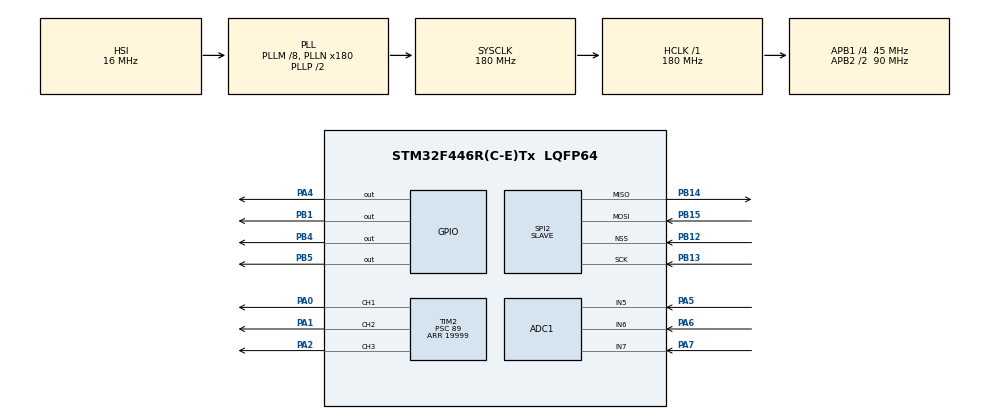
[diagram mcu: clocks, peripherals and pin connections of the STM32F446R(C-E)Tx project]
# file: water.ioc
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ADC1.Channel-1\#ChannelRegularConversion=ADC_CHANNEL_7
ADC1.NbrOfConversionFlag=1
ADC1.Rank-1\#ChannelRegularConversion=1
ADC1.SamplingTime-1\#ChannelRegularConversion=ADC_SAMPLETIME_3CYCLES
ADC1.master=1
Mcu.Family=STM32F4
Mcu.Name=STM32F446R(C-E)Tx
Mcu.Package=LQFP64
NVIC.PriorityGroup=NVIC_PRIORITYGROUP_4
NVIC.SPI2_IRQn=true\:0\:0\:false\:false\:true\:true\:true\:true
PA0-WKUP.Signal=S_TIM2_CH1_ETR
PA1.Signal=S_TIM2_CH2
PA2.Signal=S_TIM2_CH3
PA4.Signal=GPIO_Output
PA5.Signal=ADCx_IN5
PA6.Signal=ADCx_IN6
PA7.Signal=ADCx_IN7
PB1.Signal=GPIO_Output
PB12.Mode=NSS_Signal_Hard_Input
PB12.Signal=SPI2_NSS
PB13.Mode=Full_Duplex_Slave
PB13.Signal=SPI2_SCK
PB14.Mode=Full_Duplex_Slave
PB14.Signal=SPI2_MISO
PB15.Mode=Full_Duplex_Slave
PB15.Signal=SPI2_MOSI
PB4.GPIO_PuPd=GPIO_PULLUP
PB4.GPIO_Speed=GPIO_SPEED_FREQ_VERY_HIGH
PB4.PinState=GPIO_PIN_SET
PB4.Signal=GPIO_Output
PB5.GPIO_PuPd=GPIO_PULLUP
PB5.GPIO_Speed=GPIO_SPEED_FREQ_VERY_HIGH
PB5.PinState=GPIO_PIN_SET
PB5.Signal=GPIO_Output
PH0-OSC_IN.Mode=HSE-External-Oscillator
PH0-OSC_IN.Signal=RCC_OSC_IN
PH1-OSC_OUT.Mode=HSE-External-Oscillator
PH1-OSC_OUT.Signal=RCC_OSC_OUT
ProjectManager.HeapSize=0x200
ProjectManager.StackSize=0x400
ProjectManager.TargetToolchain=STM32CubeIDE
RCC.AHBFreq_Value=180000000
RCC.APB1CLKDivider=RCC_HCLK_DIV4
RCC.APB1Freq_Value=45000000
RCC.APB1TimFreq_Value=90000000
RCC.APB2CLKDivider=RCC_HCLK_DIV2
RCC.APB2Freq_Value=90000000
RCC.APB2TimFreq_Value=180000000
RCC.CortexFreq_Value=180000000
RCC.HCLKFreq_Value=180000000
RCC.PLLM=8
RCC.PLLN=180
RCC.SYSCLKFreq_VALUE=180000000
RCC.SYSCLKSource=RCC_SYSCLKSOURCE_PLLCLK
RCC.USBFreq_Value=180000000
RCC.VCOOutputFreq_Value=360000000
SH.ADCx_IN5.0=ADC1_IN5,IN5
SH.ADCx_IN6.0=ADC1_IN6,IN6
SH.ADCx_IN7.0=ADC1_IN7,IN7
SH.S_TIM2_CH1_ETR.0=TIM2_CH1,PWM Generation1 CH1
SH.S_TIM2_CH2.0=TIM2_CH2,PWM Generation2 CH2
SH.S_TIM2_CH3.0=TIM2_CH3,PWM Generation3 CH3
SPI2.Direction=SPI_DIRECTION_2LINES
SPI2.Mode=SPI_MODE_SLAVE
SPI2.VirtualNSS=VM_NSSHARD
SPI2.VirtualType=VM_SLAVE
TIM2.Channel-PWM\ Generation1\ CH1=TIM_CHANNEL_1
TIM2.Channel-PWM\ Generation2\ CH2=TIM_CHANNEL_2
TIM2.Channel-PWM\ Generation3\ CH3=TIM_CHANNEL_3
TIM2.Period=19999
TIM2.Prescaler=89
TIM2.Pulse-PWM\ Generation1\ CH1=1500
TIM2.Pulse-PWM\ Generation2\ CH2=1500
TIM2.Pulse-PWM\ Generation3\ CH3=1500
VP_TIM2_VS_ClockSourceINT.Mode=Internal
board=custom

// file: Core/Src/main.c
/* USER CODE BEGIN Header */
/**
  ******************************************************************************
  * @file           : main.c
  * @brief          : 메인 프로그램 본문
  ******************************************************************************
  * @attention
  *
  * Copyright (c) 2026 STMicroelectronics.
  * All rights reserved.
  *
  * This software is licensed under terms that can be found in the LICENSE file
  * in the root directory of this software component.
  * If no LICENSE file comes with this software, it is provided AS-IS.
  *
  ******************************************************************************
  */
/* USER CODE END Header */
/* 헤더 파일 -----------------------------------------------------------------*/
#include "main.h"
#include "adc.h"
#include "spi.h"
#include "tim.h"
#include "gpio.h"
#include "lcd_i2c.h"

/* 전용 헤더 파일 ------------------------------------------------------------*/
/* USER CODE BEGIN Includes */
#include <stdio.h>
/* USER CODE END Includes */

/* 전용 자료형 정의 ----------------------------------------------------------*/

/* 전용 상수 정의 ------------------------------------------------------------*/

/* 전용 매크로 ---------------------------------------------------------------*/

/* 전용 변수 -----------------------------------------------------------------*/

/* USER CODE BEGIN PV */

uint32_t waterValue = 0;
uint8_t Flood = 0;

// 물센서 3채널 진단용(SWV 로그 및 실시간 표현식 관찰용)
uint32_t adc_in5 = 0, adc_in6 = 0, adc_in7 = 0;

// 수위 구간에 따른 시스템 상태 정의
typedef enum {
    STATE_SAFE = 0,
    STATE_WARNING = 1,
    STATE_ALERT = 2,
    STATE_CAUTION = 3,
    STATE_CRITICAL = 4,
    STATE_DANGER = 5
} SystemState;

SystemState last_state = STATE_SAFE; // 이전 상태 저장
SystemState current_state = STATE_SAFE;

// 상태 디바운스 (센서 노이즈로 한두 번 값이 튀어도 출력이 오작동하지 않도록)
#define STATE_CONFIRM_COUNT 3            // 같은 상태를 연속 3회 받아야 실제 반영
#define EMERGENCY_WATER_CM  3U           // 부저와 비상 서보가 작동하는 기준 수위
SystemState pending_state = STATE_SAFE;  // 관찰 중인 후보 상태
uint8_t state_confirm = 0;               // 후보 상태가 연속으로 확인된 횟수
SystemState action_last_state = STATE_SAFE; // ALERT 재진입 감지용 이전 상태
uint8_t alert_action_pending = 0;        // SAFE에서 ALERT로 직접 전이했을 때만 설정
uint8_t last_water_cm = 0xFF;
uint8_t current_water_cm = 0;
uint8_t display_water_cm = 0;  // 확정 상태와 함께 LCD에 반영할 수위
uint8_t buzzer_pattern_active = 0;
uint32_t buzzer_pattern_tick = 0;

#define BUZZER_BEEP_TIME_MS  400U

//spi 통신 버퍼
uint8_t spiTx[3];
uint8_t spiRx[3];

/* USER CODE END PV */

/* 전용 함수 원형 ------------------------------------------------------------*/
void SystemClock_Config(void);

/* 사용자 전용 코드 ----------------------------------------------------------*/
/* USER CODE BEGIN 0 */

// ── 디버그 로그: printf 출력을 SWV(ITM)로 보냄 ───────────────────
// STM32CubeIDE 디버그 세션의 [SWV ITM 데이터 콘솔] 0번 포트에서 확인
int __io_putchar(int ch)
{
    ITM_SendChar(ch);
    return ch;
}

// ── ADC 단일 채널 읽기 헬퍼 ─────────────────────────────────────
// 스캔/DMA 미사용 구성이므로 변환 전에 1순위 채널을 매번 재설정한다
uint32_t ADC_ReadChannel(uint32_t channel)
{
    ADC_ChannelConfTypeDef sConfig = {0};
    sConfig.Channel = channel;
    sConfig.Rank = 1;
    // 고임피던스 물센서: 샘플링 시간을 길게 잡아야 채널 간 크로스토크를 막는다
    sConfig.SamplingTime = ADC_SAMPLETIME_480CYCLES;
    HAL_ADC_ConfigChannel(&hadc1, &sConfig);

    HAL_ADC_Start(&hadc1);
    HAL_ADC_PollForConversion(&hadc1, HAL_MAX_DELAY);
    uint32_t val = HAL_ADC_GetValue(&hadc1);
    HAL_ADC_Stop(&hadc1);
    return val;
}

// 서보 번호
#define BREAKER_SERVO   1
#define GAS_SERVO       2
#define WINDOW_SERVO    3

// 가스·창문 서보 각도 (실험 후 수정)
#define GAS_INIT_ANGLE      0     // 가스 초기 위치
#define GAS_CLOSE_ANGLE     130   // 가스 잠금
#define GAS_RETURN_ANGLE    30    // SAFE 상태에서 돌아갈 가스 서보 위치
#define WINDOW_CLOSE_ANGLE  70    // 창문 닫힘
#define WINDOW_OPEN_ANGLE   0     // 창문 열림

// 차단기 서보: 초기 위치에서 첫 번째 위치로 이동한 뒤 최종 위치로 이동
#define BREAKER_INIT_ANGLE   90   // 초기(정지) 각도
#define BREAKER_FIRST_ANGLE  95  // 첫 번째 이동 위치
#define BREAKER_FINAL_ANGLE  0   // 최종 위치

// 침수 기준 값
//---------------------------------------------

// PA5, PA6, PA7 센서는 각각 ADC 0~4095를 읽어 0~4 cm로 변환한다.
// 센서 1개 기준: 0~500=0 cm, 501~1700=1 cm, 1701~2900=2 cm,
//                 2901~3754=3 cm, 3755~4095=4 cm
// 세 센서의 변환값을 합산하므로 전체 측정 및 LCD 표시 범위는 0~12 cm이다.
static uint8_t ADC_ToSensorCm(uint32_t adc)
{
    if (adc <= 700U)  return 0;
    if (adc <= 2750U) return 1;
    if (adc <= 3400U) return 2;
    if (adc < 3835U)  return 3;
    return 4;
}

// 각 서보의 현재 논리 각도를 저장하여 단계적으로 이동시킨다.
uint8_t servoAngle[4] = {90, BREAKER_INIT_ANGLE, GAS_INIT_ANGLE, 90};

#define SERVO_STEP_TIME_MS          15U
#define BREAKER_STEP_TIME_MS         8U
#define GAS_START_DELAY_MS          500U
#define GAS_REASSERT_TIME_MS        500U

typedef enum {
    SERVO_SEQUENCE_IDLE = 0,
    SERVO_SEQUENCE_BREAKER_FIRST,
    SERVO_SEQUENCE_BREAKER_FINAL,
    SERVO_SEQUENCE_GAS_WAIT,
    SERVO_SEQUENCE_GAS_CLOSE,
    SERVO_SEQUENCE_GAS_RETURN,
    SERVO_SEQUENCE_WINDOW_CLOSE,
    SERVO_SEQUENCE_WINDOW_OPEN
} ServoSequenceState;

ServoSequenceState servo_sequence = SERVO_SEQUENCE_IDLE;
uint32_t sensor_update_tick = 0;
uint32_t gas_start_tick = 0;

typedef struct {
    uint8_t servo;
    uint8_t start_angle;
    uint8_t target_angle;
    uint32_t start_tick;
    uint32_t duration_ms;
} ServoMotion;

ServoMotion servo_motion = {0};

void Servo_SetAngle(uint8_t servo, uint8_t angle)
{
    uint16_t pulse;

    // 0~180°를 1000~2000마이크로초로 변환
    pulse = 1000 + (angle * 1000) / 180;

    switch(servo)
        {
            case BREAKER_SERVO:
                __HAL_TIM_SET_COMPARE(&htim2, TIM_CHANNEL_1, pulse);
                break;

            case GAS_SERVO:
                __HAL_TIM_SET_COMPARE(&htim2, TIM_CHANNEL_2, pulse);
                break;

            case WINDOW_SERVO:
                __HAL_TIM_SET_COMPARE(&htim2, TIM_CHANNEL_3, pulse);
                break;
        }
    }

    static uint32_t Servo_Channel(uint8_t servo)
    {
        if (servo == BREAKER_SERVO) return TIM_CHANNEL_1;
        if (servo == GAS_SERVO)     return TIM_CHANNEL_2;
        return TIM_CHANNEL_3;
    }

    /*
     * 현재 각도에서 목표 각도까지 이동을 예약한다. 차단기 서보는 1도당 8ms,
     * 가스 및 창문 서보는 1도당 15ms를 사용한다.
     */
    static void Servo_BeginMove(uint8_t servo, uint8_t target, uint32_t now)
    {
        uint8_t start = servoAngle[servo];
        uint8_t distance = (start < target) ? (uint8_t)(target - start)
                                            : (uint8_t)(start - target);

        HAL_TIM_PWM_Start(&htim2, Servo_Channel(servo));
        Servo_SetAngle(servo, start);

        servo_motion.servo = servo;
        servo_motion.start_angle = start;
        servo_motion.target_angle = target;
        servo_motion.start_tick = now;
        uint32_t step_time_ms = (servo == BREAKER_SERVO)
                              ? BREAKER_STEP_TIME_MS
                              : SERVO_STEP_TIME_MS;
        servo_motion.duration_ms = (uint32_t)distance * step_time_ms;

        // 논리 각도가 이미 잠금 위치여도 실제 가스 서보에 PWM을 충분히 인가한다.
        if (servo == GAS_SERVO && servo_motion.duration_ms < GAS_REASSERT_TIME_MS)
        {
            servo_motion.duration_ms = GAS_REASSERT_TIME_MS;
        }
    }

    /*
     * 호출 횟수가 아니라 실제 경과시간으로 각도를 계산한다. 메인 루프가 잠시
     * 지연되어도 서보 이동이 중간에 멈추지 않는다.
     */
    static uint8_t Servo_UpdateMove(uint32_t now)
    {
        uint32_t elapsed = (uint32_t)(now - servo_motion.start_tick);
        uint8_t start = servo_motion.start_angle;
        uint8_t target = servo_motion.target_angle;
        uint8_t distance = (start < target) ? (uint8_t)(target - start)
                                            : (uint8_t)(start - target);
        uint32_t step_time_ms = (servo_motion.servo == BREAKER_SERVO)
                              ? BREAKER_STEP_TIME_MS
                              : SERVO_STEP_TIME_MS;

        if (servo_motion.duration_ms == 0U || elapsed >= servo_motion.duration_ms)
        {
            servoAngle[servo_motion.servo] = target;
            Servo_SetAngle(servo_motion.servo, target);
            return 1U;
        }

        uint8_t moved = (uint8_t)(elapsed / step_time_ms);
        if (moved > distance) moved = distance;

        uint8_t angle = (start < target) ? (uint8_t)(start + moved)
                                         : (uint8_t)(start - moved);
        servoAngle[servo_motion.servo] = angle;
        Servo_SetAngle(servo_motion.servo, angle);
        return 0U;
    }

    // 비상 서보 동작을 시작한다. 실제 이동은 메인 루프의 갱신 함수가 나누어 처리한다.
    static void Emergency_Action(void)
    {
        if (servo_sequence != SERVO_SEQUENCE_IDLE) return;

        // 비상 동작이 재무장된 상태에서 경보 수위가 감지되면 차단기부터 순서대로 실행한다.
        servo_sequence = SERVO_SEQUENCE_BREAKER_FIRST;
        Servo_BeginMove(BREAKER_SERVO, BREAKER_FIRST_ANGLE, HAL_GetTick());
    }

    // SAFE 상태로 복귀하면 가스 서보를 30도로 되돌린 뒤 창문을 연다.
    static void Recovery_Action(void)
    {
        if (servo_sequence != SERVO_SEQUENCE_IDLE) return;

        servo_sequence = SERVO_SEQUENCE_GAS_RETURN;
        Servo_BeginMove(GAS_SERVO, GAS_RETURN_ANGLE, HAL_GetTick());
    }

    // 메인 루프에서 반복 호출되어 경과시간에 맞춰 서보를 하나씩 순차적으로 움직인다.
    static void Servo_SequenceUpdate(void)
    {
        uint32_t now = HAL_GetTick();

        if (servo_sequence == SERVO_SEQUENCE_IDLE) return;

        switch (servo_sequence)
        {
            case SERVO_SEQUENCE_BREAKER_FIRST:
                if (Servo_UpdateMove(now))
                {
                    servo_sequence = SERVO_SEQUENCE_BREAKER_FINAL;
                    Servo_BeginMove(BREAKER_SERVO, BREAKER_FINAL_ANGLE, now);
                }
                break;

            case SERVO_SEQUENCE_BREAKER_FINAL:
                if (Servo_UpdateMove(now))
                {
                    HAL_TIM_PWM_Stop(&htim2, TIM_CHANNEL_1);
                    gas_start_tick = now;
                    servo_sequence = SERVO_SEQUENCE_GAS_WAIT;
                }
                break;

            case SERVO_SEQUENCE_GAS_WAIT:
                // 차단기 동작 직후의 전압 강하가 가라앉은 뒤 가스 서보를 구동한다.
                if ((uint32_t)(now - gas_start_tick) >= GAS_START_DELAY_MS)
                {
                    servo_sequence = SERVO_SEQUENCE_GAS_CLOSE;
                    Servo_BeginMove(GAS_SERVO, GAS_CLOSE_ANGLE, now);
                }
                break;

            case SERVO_SEQUENCE_GAS_CLOSE:
                if (Servo_UpdateMove(now))
                {
                    // 가스 서보의 논리 위치를 130도로 남기고 PWM 출력을 끈다.
                    HAL_TIM_PWM_Stop(&htim2, TIM_CHANNEL_2);
                    servo_sequence = SERVO_SEQUENCE_WINDOW_CLOSE;
                    Servo_BeginMove(WINDOW_SERVO, WINDOW_CLOSE_ANGLE, now);
                }
                break;

            case SERVO_SEQUENCE_GAS_RETURN:
                if (Servo_UpdateMove(now))
                {
                    // SAFE 복귀 시 30도로 돌아온 뒤 창문도 정상 위치로 복구한다.
                    HAL_TIM_PWM_Stop(&htim2, TIM_CHANNEL_2);
                    servo_sequence = SERVO_SEQUENCE_WINDOW_OPEN;
                    Servo_BeginMove(WINDOW_SERVO, WINDOW_OPEN_ANGLE, now);
                }
                break;

            case SERVO_SEQUENCE_WINDOW_CLOSE:
                if (Servo_UpdateMove(now))
                {
                    servo_sequence = SERVO_SEQUENCE_IDLE;
                }
                break;

            case SERVO_SEQUENCE_WINDOW_OPEN:
                if (Servo_UpdateMove(now))
                {
                    servo_sequence = SERVO_SEQUENCE_IDLE;
                }
                break;

            default:
                break;
        }
    }

    // LED 극성: LED_ACTIVE_LOW가 0이면 높음=켜짐, 1이면 낮음=켜짐.
    #define LED_ACTIVE_LOW  0

    void LED_ON(void)
    {
        HAL_GPIO_WritePin(GPIOA, GPIO_PIN_4, LED_ACTIVE_LOW ? GPIO_PIN_RESET : GPIO_PIN_SET);
    }

    void LED_OFF(void)
    {
        HAL_GPIO_WritePin(GPIOA, GPIO_PIN_4, LED_ACTIVE_LOW ? GPIO_PIN_SET : GPIO_PIN_RESET);
    }

    void Buzzer_ON(void)
    {
        uint32_t now = HAL_GetTick();

        // 경보 시작 시점을 기준으로 400ms 켜짐, 400ms 꺼짐을 반복한다.
        if (buzzer_pattern_active == 0U)
        {
            buzzer_pattern_active = 1U;
            buzzer_pattern_tick = now;
        }

        uint32_t phase = (uint32_t)(now - buzzer_pattern_tick) / BUZZER_BEEP_TIME_MS;
        HAL_GPIO_WritePin(GPIOB, GPIO_PIN_1,
                          ((phase & 1U) == 0U) ? GPIO_PIN_SET : GPIO_PIN_RESET);

        // ALERT 상태에서만 차단기·가스 밸브·창문 비상 동작을 시작한다.
        if (alert_action_pending == 1U && Flood == 0 && servo_sequence == SERVO_SEQUENCE_IDLE)
        {
            Emergency_Action();
            Flood = 1;
            alert_action_pending = 0U;
        }
    }

    void Buzzer_OFF(void)
    {
        HAL_GPIO_WritePin(GPIOB, GPIO_PIN_1, GPIO_PIN_RESET);
        buzzer_pattern_active = 0U;

        // SAFE 상태가 되면 진행 중인 비상 동작을 마친 뒤 서보를 복구한다.
        if (current_state == STATE_SAFE && Flood == 1 && servo_sequence == SERVO_SEQUENCE_IDLE)
        {
            Recovery_Action();
            Flood = 0;
        }
    }

/* USER CODE END 0 */

/**
  * @brief  프로그램 시작 함수
  * @retval 정수형 반환값
  */
int main(void)
{

  /* 마이크로컨트롤러 설정 ---------------------------------------------------*/

  /* 모든 주변장치를 초기화하고 플래시 인터페이스와 시스템 틱을 설정한다. */
  HAL_Init();

  /* 시스템 클럭 설정 */
  SystemClock_Config();

  /* 설정된 모든 주변장치 초기화 */
  MX_GPIO_Init();
  MX_TIM2_Init();
  MX_ADC1_Init();
  MX_SPI2_Init();
  /* USER CODE BEGIN 2 */

  lcd_init();

    lcd_clear();
    lcd_setCursor(0,0);
    lcd_print("Water: 0 cm");

    lcd_setCursor(0,1);
    lcd_print("SAFE");

    last_state = STATE_SAFE;

    // 부팅 시 서보 PWM을 시작하지 않는다. 각 채널은 이동 시작 시 개별적으로 켜진다.

  /* USER CODE END 2 */

  /* 무한 반복문 */
  while (1)
  {

    /* USER CODE BEGIN 3 */

	  // 서보를 조금씩 이동시키면서 메인 루프가 멈추지 않도록 한다.
	  Servo_SequenceUpdate();

	  // 센서, SPI, 출력 및 LCD 처리를 200ms 주기로 실행한다.
	  uint32_t now = HAL_GetTick();
	  if ((uint32_t)(now - sensor_update_tick) < 200U) continue;
	  sensor_update_tick = now;

	  // ── 물센서 3채널(IN5/IN6/IN7) 개별 읽기 및 진단 로그 ─────────────
	  // 각 채널의 ADC 값을 개별적으로 확인하기 위한 코드
	  adc_in5 = ADC_ReadChannel(ADC_CHANNEL_5); // PA5
	  adc_in6 = ADC_ReadChannel(ADC_CHANNEL_6); // PA6
	  adc_in7 = ADC_ReadChannel(ADC_CHANNEL_7); // PA7

	  printf("IN5(PA5)=%4lu  IN6(PA6)=%4lu  IN7(PA7)=%4lu\r\n",
	         (unsigned long)adc_in5, (unsigned long)adc_in6, (unsigned long)adc_in7);

	  // 세 센서 중 ADC 값이 가장 큰 채널을 ESP32 전송용 대표 원시값으로 사용한다.
	  waterValue = adc_in5;
	  if (adc_in6 > waterValue) waterValue = adc_in6;
	  if (adc_in7 > waterValue) waterValue = adc_in7;

	  // 세 센서의 0~4 cm 변환값을 합산하므로 측정 범위는 0~12 cm이다.
	  current_water_cm = ADC_ToSensorCm(adc_in5)
	                   + ADC_ToSensorCm(adc_in6)
	                   + ADC_ToSensorCm(adc_in7);
	  if (current_water_cm > 12U) current_water_cm = 12U;

	  printf("CM: PA5=%u PA6=%u PA7=%u TOTAL=%u\r\n",
	         ADC_ToSensorCm(adc_in5), ADC_ToSensorCm(adc_in6),
	         ADC_ToSensorCm(adc_in7), current_water_cm);

	  // ── 상태 판정: STM32가 물센서 값으로 '직접' 등급을 매긴다 ─────────────
	  //   → ESP32가 없거나 SPI가 끊겨도 LED·부저·서보가 확실히 동작한다.
	  SystemState rx_state;
	  if      (current_water_cm >= 10U) rx_state = STATE_DANGER;
	  else if (current_water_cm >= 7U)  rx_state = STATE_CRITICAL;
	  else if (current_water_cm >= 5U)  rx_state = STATE_CAUTION;
	  else if (current_water_cm >= 3U)  rx_state = STATE_ALERT;
	  else if (current_water_cm >= 1U)  rx_state = STATE_WARNING;
	  else                              rx_state = STATE_SAFE;

	  // 상태 안정화: 같은 등급이 설정 횟수만큼 연속 감지될 때만 확정한다(센서 잡음 방지).
	  if (rx_state == pending_state)
	  {
	      if (state_confirm < STATE_CONFIRM_COUNT) state_confirm++;
	  }
	  else
	  {
	      pending_state = rx_state;
	      state_confirm = 1;
	  }
	  if (state_confirm >= STATE_CONFIRM_COUNT)
	  {
	      current_state = pending_state;
	  }

	  // SAFE에서 ALERT로 직접 전이할 때만 비상 동작을 재무장한다.
	  // WARNING 또는 상위 경보 단계에서 ALERT로 전이하면 재실행하지 않는다.
	  if (current_state != action_last_state)
	  {
	      alert_action_pending = 0U;
	      if (current_state == STATE_ALERT && action_last_state == STATE_SAFE)
	      {
	          Flood = 0;
	          alert_action_pending = 1U;
	      }
	      action_last_state = current_state;
	  }

	  /*
	   * LCD의 수위와 상태를 하나의 일관된 화면으로 유지한다.
	   * 상태 경계를 넘으면 새 상태가 확정될 때까지 기존 표시 수위를 유지하고,
	   * 확정되는 순간 아래 갱신 구간에서 두 줄을 함께 바꾼다.
	   * 같은 상태 범위 안에서 수위만 변하면 즉시 표시한다.
	   */
	  if (rx_state == current_state)
	  {
	      display_water_cm = current_water_cm;
	  }

	  // 전송 데이터 구성
	  spiTx[0] = 0xAA;
	  spiTx[1] = (waterValue >> 8) & 0xFF;
	  spiTx[2] = waterValue & 0xFF;

	  // ESP32에 센서 값을 전송한다. 수신 데이터는 현재 사용하지 않는다.
	  (void)HAL_SPI_TransmitReceive(&hspi2, spiTx, spiRx, 3, 50);

	  	      // LED는 물이 감지되면 켜고 안전 상태에서만 끈다.
	  	      if (current_state == STATE_SAFE) LED_OFF();
	  	      else                             LED_ON();

	  	      // 3cm 이상이면 부저를 켜고 차단기·가스 밸브·창문 비상 동작을 한 번 시작한다.
	  	      if (display_water_cm >= EMERGENCY_WATER_CM)
	  	      {
	  	          Buzzer_ON();
	  	      }
	  	      else
	  	      {
                  // 3cm 미만이면 부저를 끄며, 서보 복구는 SAFE 상태에서만 실행한다.
	  	          Buzzer_OFF();
	  	      }

	  	      // 상태 또는 수위가 변했을 때 두 줄을 하나의 화면으로 갱신한다.
	  	      uint8_t water_cm = display_water_cm;
	  	      if (current_state != last_state || water_cm != last_water_cm) {
	  	          char water_text[17];
	  	          // 작성 중인 첫째/둘째 줄이 따로 보이지 않도록 완성 후 다시 켠다.
	  	          lcd_sendCommand(0x08); // 화면 끄기
	  	          lcd_clear();
	  	          snprintf(water_text, sizeof(water_text), "Water: %u cm", water_cm);
	  	          lcd_setCursor(0, 0); lcd_print(water_text);

	  	          switch (current_state) {
	  	              case STATE_SAFE:
	  	                  lcd_setCursor(0, 1); lcd_print("SAFE");
	  	                  break;
	  	              case STATE_WARNING:
	  	                  lcd_setCursor(0, 1); lcd_print("WARNING!");
	  	                  break;
	  	              case STATE_ALERT:
	  	                  lcd_setCursor(0, 1); lcd_print("ALERT!");
	  	                  break;
	  	              case STATE_CAUTION:
	  	                  lcd_setCursor(0, 1); lcd_print("CAUTION!");
	  	                  break;
	  	              case STATE_CRITICAL:
	  	                  lcd_setCursor(0, 1); lcd_print("CRITICAL!");
	  	                  break;
	  	              case STATE_DANGER:
	  	                  lcd_setCursor(0, 1); lcd_print("DANGER!");
	  	                  break;
	  	          }
	  	          lcd_sendCommand(0x0C); // 화면 켜기
	  	          last_state = current_state; // 현재 상태를 이전 상태로 저장
	  	          last_water_cm = water_cm;
	  	      }

	    }

  /* USER CODE END 3 */
}

/**
  * @brief 시스템 클럭 설정
  * @retval 반환값 없음
  */
void SystemClock_Config(void)
{
  RCC_OscInitTypeDef RCC_OscInitStruct = {0};
  RCC_ClkInitTypeDef RCC_ClkInitStruct = {0};

  /** 주 내부 레귤레이터의 출력 전압을 설정한다.
  */
  __HAL_RCC_PWR_CLK_ENABLE();
  __HAL_PWR_VOLTAGESCALING_CONFIG(PWR_REGULATOR_VOLTAGE_SCALE1);

  /** 지정된 매개변수와 RCC_OscInitTypeDef 구조체에 따라 RCC 발진기를 초기화한다.
  */
  RCC_OscInitStruct.OscillatorType = RCC_OSCILLATORTYPE_HSI;
  RCC_OscInitStruct.HSIState = RCC_HSI_ON;
  RCC_OscInitStruct.HSICalibrationValue = RCC_HSICALIBRATION_DEFAULT;
  RCC_OscInitStruct.PLL.PLLState = RCC_PLL_ON;
  RCC_OscInitStruct.PLL.PLLSource = RCC_PLLSOURCE_HSI;
  RCC_OscInitStruct.PLL.PLLM = 8;
  RCC_OscInitStruct.PLL.PLLN = 180;
  RCC_OscInitStruct.PLL.PLLP = RCC_PLLP_DIV2;
  RCC_OscInitStruct.PLL.PLLQ = 2;
  RCC_OscInitStruct.PLL.PLLR = 2;
  if (HAL_RCC_OscConfig(&RCC_OscInitStruct) != HAL_OK)
  {
    Error_Handler();
  }

  /** 오버드라이브 모드를 활성화한다.
  */
  if (HAL_PWREx_EnableOverDrive() != HAL_OK)
  {
    Error_Handler();
  }

  /** CPU, AHB 및 APB 버스 클럭을 초기화한다.
  */
  RCC_ClkInitStruct.ClockType = RCC_CLOCKTYPE_HCLK|RCC_CLOCKTYPE_SYSCLK
                              |RCC_CLOCKTYPE_PCLK1|RCC_CLOCKTYPE_PCLK2;
  RCC_ClkInitStruct.SYSCLKSource = RCC_SYSCLKSOURCE_PLLCLK;
  RCC_ClkInitStruct.AHBCLKDivider = RCC_SYSCLK_DIV1;
  RCC_ClkInitStruct.APB1CLKDivider = RCC_HCLK_DIV4;
  RCC_ClkInitStruct.APB2CLKDivider = RCC_HCLK_DIV2;

  if (HAL_RCC_ClockConfig(&RCC_ClkInitStruct, FLASH_LATENCY_5) != HAL_OK)
  {
    Error_Handler();
  }
}

/**
  * @brief  오류 발생 시 실행되는 함수
  * @retval 반환값 없음
  */
void Error_Handler(void)
{
  /* USER CODE BEGIN Error_Handler_Debug */
  /* HAL 오류 반환 상태를 보고하는 사용자 구현을 추가할 수 있다. */
  __disable_irq();
  while (1)
  {
  }
  /* USER CODE END Error_Handler_Debug */
}
#ifdef USE_FULL_ASSERT
/**
  * @brief  매개변수 검사 오류가 발생한 소스 파일명과 줄 번호를 보고한다.
  * @param  file: 소스 파일명을 가리키는 포인터
  * @param  line: 오류가 발생한 소스 줄 번호
  * @retval 반환값 없음
  */
void assert_failed(uint8_t *file, uint32_t line)
{
  /* USER CODE BEGIN 6 */
  /* 파일명과 줄 번호를 보고하는 사용자 구현을 추가할 수 있다.
     예: printf("잘못된 매개변수 값: 파일 %s, 줄 %d\r\n", file, line) */
  /* USER CODE END 6 */
}
#endif /* USE_FULL_ASSERT */
